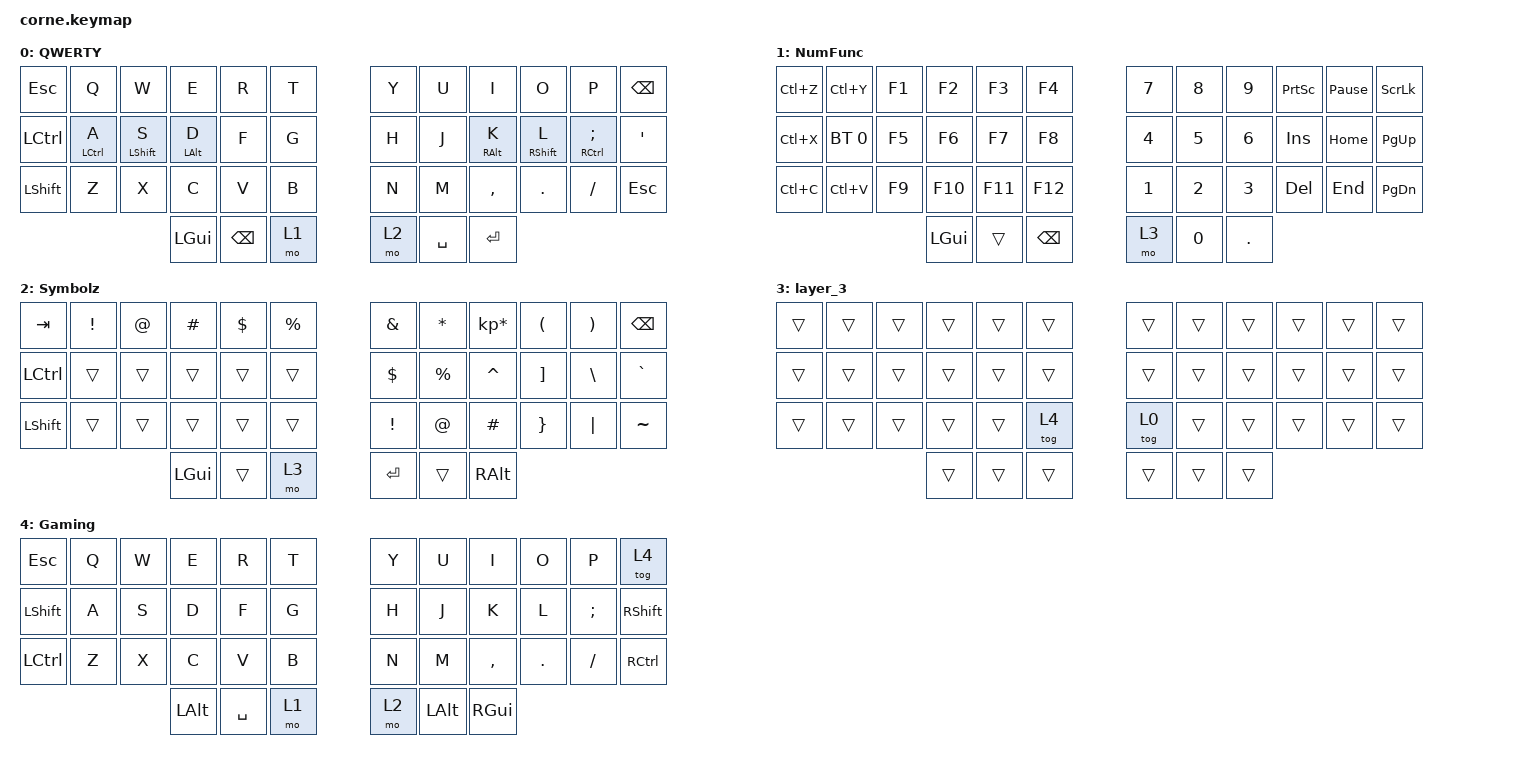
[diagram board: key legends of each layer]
/*
 * Copyright (c) 2020 The ZMK Contributors
 *
 * SPDX-License-Identifier: MIT
 */

#include <behaviors.dtsi>
#include <dt-bindings/zmk/bt.h>
#include <dt-bindings/zmk/keys.h>

/ {
    combos {
        compatible = "zmk,combos";

        lparen {
            bindings = <&kp LEFT_PARENTHESIS>;
            key-positions = <6 7>;
        };

        rparen {
            bindings = <&kp RPAR>;
            key-positions = <7 8>;
        };

        lbrace {
            bindings = <&kp LEFT_BRACE>;
            key-positions = <18 19>;
        };

        rbrace {
            bindings = <&kp RBRC>;
            key-positions = <19 20>;
        };

        lbrack {
            bindings = <&kp LEFT_BRACKET>;
            key-positions = <30 31>;
        };

        rbrack {
            bindings = <&kp RIGHT_BRACKET>;
            key-positions = <31 32>;
        };

        dash {
            bindings = <&kp MINUS>;
            key-positions = <4 5>;
        };

        underscore {
            bindings = <&kp UNDER>;
            key-positions = <16 17>;
        };

        equal {
            bindings = <&kp EQUAL>;
            key-positions = <28 29>;
        };
    };

    behaviors {
        hml: homerow_mods_left {
            compatible = "zmk,behavior-hold-tap";
            label = "HML";
            bindings =
                <&kp>,
                <&kp>;

            #binding-cells = <2>;
            tapping-term-ms = <200>;
            flavor = "tap-preferred";
            quick-tap-ms = <0>;
        };
        hmr: homerow_mods_right {
            compatible = "zmk,behavior-hold-tap";
            label = "HMR";
            bindings =
                <&kp>,
                <&kp>;

            #binding-cells = <2>;
            tapping-term-ms = <200>;
            flavor = "tap-preferred";
        };
    };

    keymap {
        compatible = "zmk,keymap";

        QWERTY {
            // -----------------------------------------------------------------------------------------
            // |  TAB |  Q  |  W  |  E  |  R  |  T  |   |  Y  |  U   |  I  |  O  |  P  | BKSP |
            // | CTRL |  A  |  S  |  D  |  F  |  G  |   |  H  |  J   |  K  |  L  |  ;  |  '   |
            // | SHFT |  Z  |  X  |  C  |  V  |  B  |   |  N  |  M   |  ,  |  .  |  /  | ESC  |
            //                    | GUI | LWR | SPC |   | ENT | RSE  | ALT |

            bindings = <
&kp ESCAPE  &kp Q         &kp W          &kp E        &kp R          &kp T    &kp Y  &kp U      &kp I        &kp O          &kp P            &kp BSPC
&kp LCTRL   &hml LCTRL A  &hml LSHIFT S  &hml LALT D  &kp F          &kp G    &kp H  &kp J      &hmr RALT K  &hmr RSHIFT L  &hmr RCTRL SEMI  &kp SQT
&kp LSHFT   &kp Z         &kp X          &kp C        &kp V          &kp B    &kp N  &kp M      &kp COMMA    &kp DOT        &kp FSLH         &kp ESC
                                         &kp LGUI     &kp BACKSPACE  &mo 1    &mo 2  &kp SPACE  &kp RETURN
            >;
        };

        NumFunc {
            // -----------------------------------------------------------------------------------------
            // |  TAB |  1  |  2  |  3  |  4  |  5  |   |  6  |  7  |  8  |  9  |  0  | BKSP |
            // | BTCLR| BT1 | BT2 | BT3 | BT4 | BT5 |   | LFT | DWN |  UP | RGT |     |      |
            // | SHFT |     |     |     |     |     |   |     |     |     |     |     |      |
            //                    | GUI |     | SPC |   | ENT |     | ALT |

            bindings = <
&kp LC(Z)  &kp LC(Y)     &kp F1  &kp F2    &kp F3   &kp F4      &kp NUMBER_7  &kp NUMBER_8  &kp NUMBER_9  &kp PRINTSCREEN  &kp PAUSE_BREAK  &kp SCROLLLOCK
&kp LC(X)  &bt BT_SEL 0  &kp F5  &kp F6    &kp F7   &kp F8      &kp N4        &kp NUMBER_5  &kp NUMBER_6  &kp INSERT       &kp HOME         &kp PAGE_UP
&kp LC(C)  &kp LC(V)     &kp F9  &kp F10   &kp F11  &kp F12     &kp NUMBER_1  &kp N2        &kp NUMBER_3  &kp DEL          &kp END          &kp PAGE_DOWN
                                 &kp LGUI  &trans   &kp BSPC    &mo 3         &kp NUMBER_0  &kp PERIOD
            >;
        };

        Symbolz {
            // -----------------------------------------------------------------------------------------
            // |  TAB |  !  |  @  |  #  |  $  |  %  |   |  ^  |  &  |  *  |  (  |  )  | BKSP |
            // | CTRL |     |     |     |     |     |   |  -  |  =  |  [  |  ]  |  \  |  `   |
            // | SHFT |     |     |     |     |     |   |  _  |  +  |  {  |  }  | "|" |  ~   |
            //                    | GUI |     | SPC |   | ENT |     | ALT |

            bindings = <
&kp TAB    &kp EXCL  &kp AT  &kp HASH  &kp DLLR  &kp PRCNT    &kp AMPS    &kp ASTERISK  &kp KP_MULTIPLY  &kp LPAR  &kp RPAR  &kp BSPC
&kp LCTRL  &trans    &trans  &trans    &trans    &trans       &kp DOLLAR  &kp PERCENT   &kp CARET        &kp RBKT  &kp BSLH  &kp GRAVE
&kp LSHFT  &trans    &trans  &trans    &trans    &trans       &kp EXCL    &kp AT        &kp POUND        &kp RBRC  &kp PIPE  &kp TILDE
                             &kp LGUI  &trans    &mo 3        &kp RET     &trans        &kp RALT
            >;
        };

        layer_3 {
            bindings = <
&trans  &trans  &trans  &trans  &trans  &trans    &trans  &trans  &trans  &trans  &trans  &trans
&trans  &trans  &trans  &trans  &trans  &trans    &trans  &trans  &trans  &trans  &trans  &trans
&trans  &trans  &trans  &trans  &trans  &tog 4    &tog 0  &trans  &trans  &trans  &trans  &trans
                        &trans  &trans  &trans    &trans  &trans  &trans
            >;
        };

        Gaming {
            bindings = <
&kp ESCAPE  &kp Q  &kp W  &kp E         &kp R      &kp T    &kp Y  &kp U     &kp I          &kp O       &kp P          &tog 4
&kp LSHIFT  &kp A  &kp S  &kp D         &kp F      &kp G    &kp H  &kp J     &kp K          &kp L       &kp SEMICOLON  &kp RSHFT
&kp LCTRL   &kp Z  &kp X  &kp C         &kp V      &kp B    &kp N  &kp M     &kp COMMA      &kp PERIOD  &kp SLASH      &kp RCTRL
                          &kp LEFT_ALT  &kp SPACE  &mo 1    &mo 2  &kp LALT  &kp RIGHT_GUI
            >;
        };
    };
};
